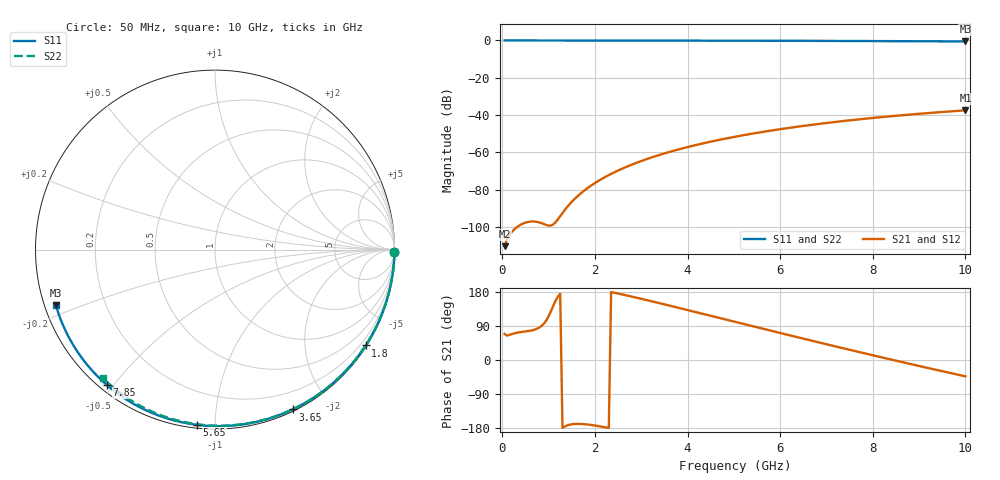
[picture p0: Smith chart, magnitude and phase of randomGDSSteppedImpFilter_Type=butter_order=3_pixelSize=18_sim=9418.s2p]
! freq	dB(S11)	phase(S11)	dB(S12)	phase(S12)
!  dB(S21)	phase(S21)	dB(S22)	phase(S22)
!S-par simulation data
#  GHz  S  DB  R 50
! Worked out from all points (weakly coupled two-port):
!   200 points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, 50 MHz to 10 GHz, reference 50 ohm
!   highest |S21| = -37.51 dB at 10 GHz (marker M1); lowest = -110.4 dB at 50 MHz (marker M2)
!   lowest |S11| = -0.5 dB at 10 GHz (marker M3), VSWR 31.69, Z = 1.62 - j8.42 ohm
!   |S11| at or under -10 dB: nowhere
!   |S22| runs from -0.4 to 0.0 dB; largest |S21 - S12| = 0
!   S11 on the Smith chart (normalised r, x): 50 MHz: open; 1.8 GHz: 0.03, -3.44; 3.65 GHz: 0.02, -1.60; 5.65 GHz: 0.02, -0.90; 7.85 GHz: 0.02, -0.48; 10 GHz: 0.03, -0.17
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0.05  -0.00 -0.9  -110.42 68.6  -110.42 68.6  -0.00 -0.8
0.45  -0.01 -8.2  -98.24 74.5  -98.24 74.5  -0.01 -6.8
0.85  -0.02 -15.5  -98.07 90.1  -98.07 90.1  -0.02 -12.8
1.3  -0.03 -23.6  -92.60 -179.4  -92.60 -179.4  -0.02 -19.5
1.75  -0.04 -31.6  -80.95 -169.1  -80.95 -169.1  -0.03 -26.2
1.8  -0.04 -32.4  -79.99 -169.7  -79.99 -169.7  -0.03 -26.9
2.1  -0.05 -37.7  -75.01 -174.9  -75.01 -174.9  -0.04 -31.3
2.3  -0.05 -41.2  -72.25 -179.5  -72.25 -179.5  -0.04 -34.2
2.5  -0.06 -44.7  -69.82 175.4  -69.82 175.4  -0.05 -37.1
2.9  -0.07 -51.5  -65.65 164.4  -65.65 164.4  -0.06 -42.8
3.4  -0.08 -59.9  -61.39 149.8  -61.39 149.8  -0.07 -49.8
3.65  -0.09 -64.1  -59.55 142.4  -59.55 142.4  -0.07 -53.3
4.3  -0.11 -74.7  -55.43 122.7  -55.43 122.7  -0.09 -62.1
5.05  -0.13 -86.6  -51.57 99.9  -51.57 99.9  -0.11 -72.1
5.65  -0.16 -95.8  -48.98 81.8  -48.98 81.8  -0.13 -79.8
6.15  -0.19 -103.4  -47.08 66.8  -47.08 66.8  -0.15 -86.1
6.7  -0.22 -111.6  -45.23 50.4  -45.23 50.4  -0.18 -92.9
7.25  -0.26 -119.8  -43.57 34.2  -43.57 34.2  -0.21 -99.6
7.85  -0.31 -128.6  -41.97 16.8  -41.97 16.8  -0.25 -106.7
8.35  -0.35 -136.0  -40.76 2.5  -40.76 2.5  -0.29 -112.5
9.2  -0.44 -148.6  -38.97 -21.3  -38.97 -21.3  -0.36 -122.2
10  -0.55 -160.9  -37.51 -43.1  -37.51 -43.1  -0.44 -131.2
